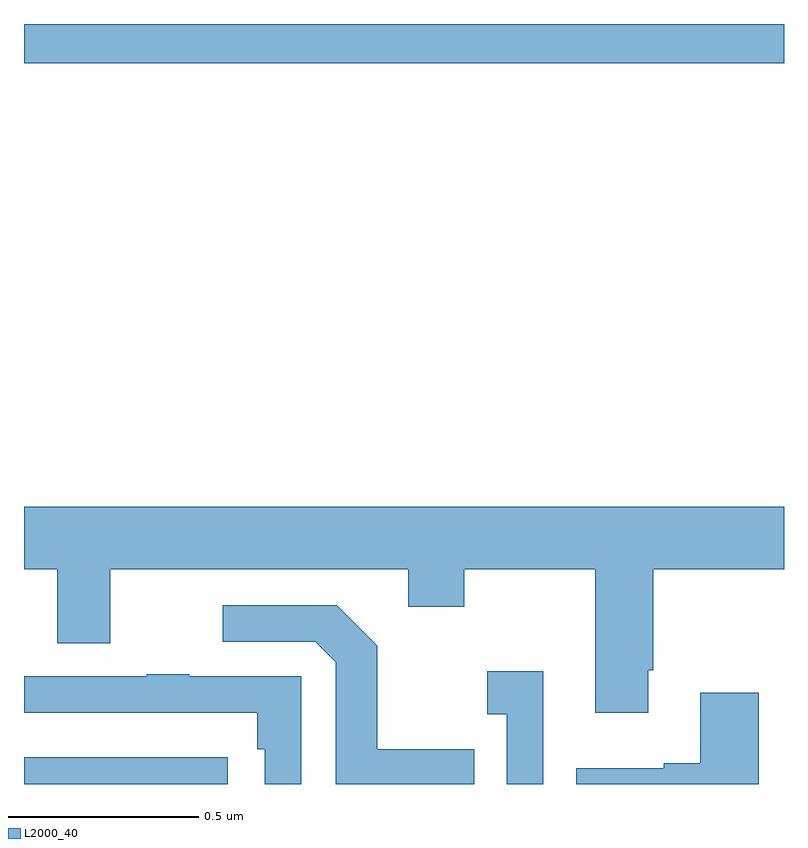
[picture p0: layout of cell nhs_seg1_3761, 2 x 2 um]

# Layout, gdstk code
import gdstk
lib = gdstk.Library(unit=1e-6, precision=1e-09)
def R(c, l, rs):  # rectangles x0, y0, x1, y1
    for r in rs: c.add(gdstk.rectangle(r[:2], r[2:], *l))
def P(c, l, *ps):  # polygons
    for p in ps: c.add(gdstk.Polygon(p, *l))
L2000_40 = (2000, 40)

nhs_seg1_3761 = lib.new_cell('nhs_seg1_3761')
R(nhs_seg1_3761, L2000_40, [(158,519.199,158.536,519.27), (158,521.096,160,521.199)])
P(nhs_seg1_3761, L2000_40, [(159.643,519.499),(159.656,519.499),(159.656,519.764),(160,519.764),(160,519.928),(158,519.928),(158,519.764),(158.087,519.764),(158.087,519.57),(158.227,519.57),(158.227,519.764),(159.011,519.764),(159.011,519.665),(159.159,519.665),(159.159,519.764),(159.503,519.764),(159.503,519.387),(159.643,519.387)],
  [(159.185,519.291),(158.929,519.291),(158.929,519.563),(158.823,519.669),(158.523,519.669),(158.523,519.573),(158.766,519.573),(158.82,519.519),(158.82,519.199),(159.185,519.199)],
  [(159.366,519.496),(159.219,519.496),(159.219,519.383),(159.27,519.383),(159.27,519.199),(159.366,519.199)],
  [(158.73,519.483),(158.435,519.483),(158.435,519.488),(158.323,519.488),(158.323,519.483),(158,519.483),(158,519.387),(158.614,519.387),(158.614,519.29),(158.634,519.29),(158.634,519.199),(158.73,519.199)],
  [(159.934,519.439),(159.779,519.439),(159.779,519.254),(159.683,519.254),(159.683,519.241),(159.453,519.241),(159.453,519.199),(159.934,519.199)])

lib.write_gds('nhs_seg1_3761.gds')
